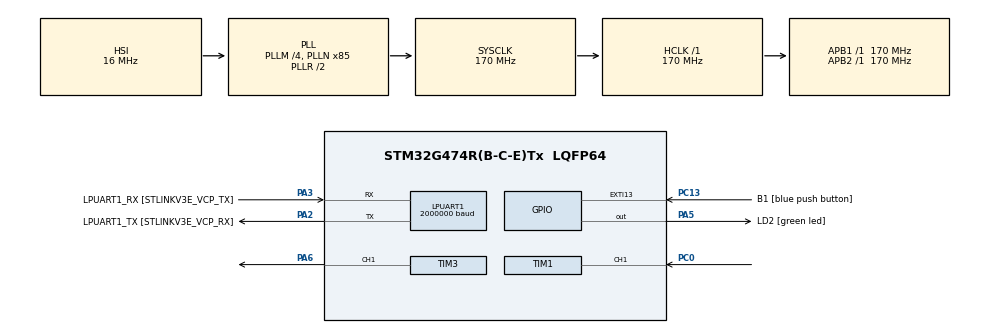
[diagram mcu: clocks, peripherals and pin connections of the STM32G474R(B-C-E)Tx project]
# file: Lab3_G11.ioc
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ARM.CMSIS.5.7.0.CMSISJjCORE=true
ARM.CMSIS.5.7.0.CMSISJjDSP=Library
LPUART1.BaudRate=2000000
Mcu.Family=STM32G4
Mcu.Name=STM32G474R(B-C-E)Tx
Mcu.Package=LQFP64
NVIC.EXTI15_10_IRQn=true\:0\:0\:false\:false\:true\:true\:true\:true
NVIC.LPUART1_IRQn=true\:0\:0\:false\:false\:true\:true\:true\:true
NVIC.PriorityGroup=NVIC_PRIORITYGROUP_4
NVIC.TIM6_DAC_IRQn=true\:0\:0\:false\:false\:true\:true\:true\:true
PA13.GPIO_Label=T_SWDIO
PA13.Signal=SYS_JTMS-SWDIO
PA14.GPIO_Label=T_SWCLK
PA14.Signal=SYS_JTCK-SWCLK
PA2.GPIO_Label=LPUART1_TX [STLINKV3E_VCP_RX]
PA2.Mode=Asynchronous
PA2.Signal=LPUART1_TX
PA3.GPIO_Label=LPUART1_RX [STLINKV3E_VCP_TX]
PA3.Mode=Asynchronous
PA3.Signal=LPUART1_RX
PA5.GPIO_Label=LD2 [green led]
PA5.Signal=GPIO_Output
PA6.Signal=S_TIM3_CH1
PB3.GPIO_Label=T_SWO
PB3.Signal=SYS_JTDO-SWO
PC0.Signal=S_TIM1_CH1
PC13.GPIO_Label=B1 [blue push button]
PC13.Signal=GPXTI13
PC14-OSC32_IN.GPIO_Label=RCC_OSC32_IN
PC14-OSC32_IN.Signal=RCC_OSC32_IN
PC15-OSC32_OUT.GPIO_Label=RCC_OSC32_OUT
PC15-OSC32_OUT.Signal=RCC_OSC32_OUT
PF0-OSC_IN.GPIO_Label=RCC_OSC_IN
PF0-OSC_IN.Signal=RCC_OSC_IN
PF1-OSC_OUT.GPIO_Label=RCC_OSC_OUT
PF1-OSC_OUT.Signal=RCC_OSC_OUT
ProjectManager.HeapSize=0x200
ProjectManager.StackSize=0x400
ProjectManager.TargetToolchain=STM32CubeIDE
RCC.ADC12Freq_Value=170000000
RCC.ADC345Freq_Value=170000000
RCC.AHBFreq_Value=170000000
RCC.APB1Freq_Value=170000000
RCC.APB1TimFreq_Value=170000000
RCC.APB2Freq_Value=170000000
RCC.APB2TimFreq_Value=170000000
RCC.CortexFreq_Value=170000000
RCC.EXTERNAL_CLOCK_VALUE=12288000
RCC.HCLKFreq_Value=170000000
RCC.HSE_VALUE=24000000
RCC.HSI48_VALUE=48000000
RCC.HSI_VALUE=16000000
RCC.LSE_VALUE=32768
RCC.PLLM=RCC_PLLM_DIV4
RCC.PLLN=85
RCC.RTCClockSelection=RCC_RTCCLKSOURCE_LSE
RCC.SYSCLKFreq_VALUE=170000000
RCC.SYSCLKSource=RCC_SYSCLKSOURCE_PLLCLK
RCC.USBFreq_Value=170000000
RCC.VCOOutputFreq_Value=340000000
SH.S_TIM1_CH1.0=TIM1_CH1,PWM_Input_1
SH.S_TIM3_CH1.0=TIM3_CH1,PWM Generation1 CH1
TIM1.Prescaler=169
TIM3.Channel-PWM\ Generation1\ CH1=TIM_CHANNEL_1
TIM3.PeriodNoDither=62499
TIM3.Prescaler=169
TIM6.PeriodNoDither=999
TIM6.Prescaler=169
VP_ARM.CMSIS_VS_CMSISJjCORE_5.4.0_5.7.0.Mode=CMSISJjCORE
VP_ARM.CMSIS_VS_CMSISJjDSP_1.8.0_5.7.0.Mode=CMSISJjDSP
VP_SYS_VS_DBSignals.Mode=DisableDeadBatterySignals
VP_TIM1_VS_ClockSourceINT.Mode=Internal
VP_TIM3_VS_ClockSourceINT.Mode=Internal
VP_TIM6_VS_ClockSourceINT.Mode=Enable_Timer
board=NUCLEO-G474RE

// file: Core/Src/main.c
/* USER CODE BEGIN Header */
/**
  ******************************************************************************
  * @file           : main.c
  * @brief          : Main program body
  ******************************************************************************
  * @attention
  *
  * Copyright (c) 2026 STMicroelectronics.
  * All rights reserved.
  *
  * This software is licensed under terms that can be found in the LICENSE file
  * in the root directory of this software component.
  * If no LICENSE file comes with this software, it is provided AS-IS.
  *
  ******************************************************************************
  */
/* USER CODE END Header */
#include "main.h"

/* USER CODE BEGIN Includes */
#include "ultrasonic.h"
#include "Kalman.h"
#include "Kalman1D.h"
/* USER CODE END Includes */

UART_HandleTypeDef hlpuart1;

TIM_HandleTypeDef htim1;
TIM_HandleTypeDef htim3;
TIM_HandleTypeDef htim6;

/* USER CODE BEGIN PV */
//void Kalman_Init(KalmanFilter_t *kf, float initial_position, float dt, float processDisplacementNoise, float measurementNoise,float velocityState,float processVelocitytNoise);
float dt=0.05;
volatile uint8_t run_sensor_task = 0;
Kalman1D_t StaticKalman_01_167;
Kalman1D_t StaticKalman_01_00167;
Kalman1D_t StaticKalman_01_0000167;
Kalman1D_t StaticKalman_00001_167;
Kalman1D_t StaticKalman_00001_00167;
Kalman1D_t StaticKalman_00001_0000167;
Kalman1D_t StaticKalman_00000001_167;
Kalman1D_t StaticKalman_00000001_00167;
Kalman1D_t StaticKalman_00000001_0000167;

KalmanFilter_t ChangeDistanceKalman_01_167;
KalmanFilter_t ChangeDistanceKalman_01_00167;
KalmanFilter_t ChangeDistanceKalman_01_0000167;
KalmanFilter_t ChangeDistanceKalman_00001_167;
KalmanFilter_t ChangeDistanceKalman_00001_00167;
KalmanFilter_t ChangeDistanceKalman_00001_0000167;
KalmanFilter_t ChangeDistanceKalman_00000001_167;
KalmanFilter_t ChangeDistanceKalman_00000001_00167;
KalmanFilter_t ChangeDistanceKalman_00000001_0000167;

float rawDistance = 0.0f;
float StaticKalmancleanDistance_01_167 = 0.0f;
float StaticKalmancleanDistance_01_00167 = 0.0f;
float StaticKalmancleanDistance_01_0000167 = 0.0f;
float StaticKalmancleanDistance_00001_167 = 0.0f;
float StaticKalmancleanDistance_00001_00167 = 0.0f;
float StaticKalmancleanDistance_00001_0000167 = 0.0f;
float StaticKalmancleanDistance_00000001_167 = 0.0f;
float StaticKalmancleanDistance_00000001_00167 = 0.0f;
float StaticKalmancleanDistance_00000001_0000167 = 0.0f;

float ChangeDistanceKalmancleanDistance_01_167 = 0.0f;
float ChangeDistanceKalmancleanDistance_01_00167 = 0.0f;
float ChangeDistanceKalmancleanDistance_01_0000167 = 0.0f;
float ChangeDistanceKalmancleanDistance_00001_167 = 0.0f;
float ChangeDistanceKalmancleanDistance_00001_00167 = 0.0f;
float ChangeDistanceKalmancleanDistance_00001_0000167 = 0.0f;
float ChangeDistanceKalmancleanDistance_00000001_167 = 0.0f;
float ChangeDistanceKalmancleanDistance_00000001_00167 = 0.0f;
float ChangeDistanceKalmancleanDistance_00000001_0000167 = 0.0f;
/* USER CODE END PV */

void SystemClock_Config(void);
static void MX_GPIO_Init(void);
static void MX_TIM1_Init(void);
static void MX_TIM3_Init(void);
static void MX_LPUART1_UART_Init(void);
static void MX_TIM6_Init(void);
/* USER CODE BEGIN PFP */

void DummyTask();
void TransmitDistancePacket(float rawDistance,float StaticKalmancleanDistance_01_167,float StaticKalmancleanDistance_01_00167,float StaticKalmancleanDistance_01_0000167,float StaticKalmancleanDistance_00001_167,
		float StaticKalmancleanDistance_00001_00167,float StaticKalmancleanDistance_00001_0000167,float StaticKalmancleanDistance_00000001_167,float StaticKalmancleanDistance_00000001_00167,
		float StaticKalmancleanDistance_00000001_0000167,
		float ChangeDistanceKalmancleanDistance_01_167,
		float ChangeDistanceKalmancleanDistance_01_00167,
		float ChangeDistanceKalmancleanDistance_01_0000167 ,
		float ChangeDistanceKalmancleanDistance_00001_167  ,
		float ChangeDistanceKalmancleanDistance_00001_00167  ,
		float ChangeDistanceKalmancleanDistance_00001_0000167  ,
		float ChangeDistanceKalmancleanDistance_00000001_167 ,
		float ChangeDistanceKalmancleanDistance_00000001_00167  ,
		float ChangeDistanceKalmancleanDistance_00000001_0000167 );
/* USER CODE END PFP */

int main(void)
{

  /* MCU Configuration--------------------------------------------------------*/

  /* Reset of all peripherals, Initializes the Flash interface and the Systick. */
  HAL_Init();

  /* Configure the system clock */
  SystemClock_Config();

  /* Initialize all configured peripherals */
  MX_GPIO_Init();
  MX_TIM1_Init();
  MX_TIM3_Init();
  MX_LPUART1_UART_Init();
  MX_TIM6_Init();
  /* USER CODE BEGIN 2 */
  /*initialize Discrete Kalman matrix*/
  //void Kalman_Init(KalmanFilter_t *kf, float initial_position, float dt, float processDisplacementNoise, float measurementNoise,float velocityState,float processVelocitytNoise);
//  void Kalman1D_Init(Kalman1D_t *kf, float initial_position, float process_noise, float sensor_noise) {
  Kalman1D_Init(&StaticKalman_01_167, 0.0f,0.01f,4.33f);
  Kalman1D_Init(&StaticKalman_01_00167, 0.0f, 0.01f,0.0433f);
  Kalman1D_Init(&StaticKalman_01_0000167, 0.0f, 0.01f,0.000433f);

  Kalman1D_Init(&StaticKalman_00001_167, 0.0f, 0.00001f,4.33f);
  Kalman1D_Init(&StaticKalman_00001_00167, 0.0f, 0.00001f,0.0433f);
  Kalman1D_Init(&StaticKalman_00001_0000167, 0.0f, 0.00001f,0.000433f);

  Kalman1D_Init(&StaticKalman_00000001_167, 0.0f, 0.00000001f,4.33f);
  Kalman1D_Init(&StaticKalman_00000001_00167, 0.0f, 0.00000001f,0.0433f);
  Kalman1D_Init(&StaticKalman_00000001_0000167, 0.0f, 0.00000001f,0.000433f);

  Kalman_Init(&ChangeDistanceKalman_01_167, 0.0f, dt,0.0f,4.33f,1.0f,0.01f);
   Kalman_Init(&ChangeDistanceKalman_01_00167, 0.0f, dt,0.0f,0.0433f,1.0f,0.01f);
   Kalman_Init(&ChangeDistanceKalman_01_0000167, 0.0f, dt,0.0f,0.000433f,1.0f,0.01f);

   Kalman_Init(&ChangeDistanceKalman_00001_167, 0.0f, dt,0.0f,4.33f,1.0f,0.00001f);
   Kalman_Init(&ChangeDistanceKalman_00001_00167, 0.0f, dt,0.0f,0.0433f,1.0f,0.00001f);
   Kalman_Init(&ChangeDistanceKalman_00001_0000167, 0.0f, dt,0.0f,0.000433f,1.0f,0.00001f);

   Kalman_Init(&ChangeDistanceKalman_00000001_167, 0.0f, dt,0.0f,4.33f,1.0f,0.00000001f);
   Kalman_Init(&ChangeDistanceKalman_00000001_00167, 0.0f, dt,0.0f,0.0433f,1.0f,0.00000001f);
   Kalman_Init(&ChangeDistanceKalman_00000001_0000167, 0.0f, dt,0.0f,0.000433f,1.0f,0.00000001f);

  //  HAL_UART_Transmit(&hlpuart1, text, 11, 10);
    HAL_TIM_Base_Start(&htim3);
    /* 2. Enable the PWM signal output on Timer 3, Channel 1 */
    HAL_TIM_PWM_Start(&htim3, TIM_CHANNEL_1);

    HAL_TIM_Base_Start(&htim1);
    HAL_TIM_IC_Start(&htim1, TIM_CHANNEL_1);
    HAL_TIM_IC_Start(&htim1, TIM_CHANNEL_2);

//    observation timer
    HAL_TIM_Base_Start_IT(&htim6);
  /* USER CODE END 2 */

  /* Infinite loop */
  while (1)
  {

    /* USER CODE BEGIN 3 */
	  DummyTask(); // LED heartbeat

	  if (run_sensor_task == 1)
	      {
	          // 1. Immediately lower the flag so we don't double-trigger
	          run_sensor_task = 0;

	          // 2. Read the raw sensor data
	          rawDistance = ultrasonicRawRead();

	          // 3. Filter the data! (measurement = raw, u = 0, dt = 0.05)
//	          float Kalman1D_Update(Kalman1D_t *kf, float measurement) {
	          StaticKalmancleanDistance_01_167 = Kalman1D_Update(&StaticKalman_01_167, rawDistance);
	          StaticKalmancleanDistance_01_00167 = Kalman1D_Update(&StaticKalman_01_00167, rawDistance);
	          StaticKalmancleanDistance_01_0000167 = Kalman1D_Update(&StaticKalman_01_0000167, rawDistance);

	          StaticKalmancleanDistance_00001_167 = Kalman1D_Update(&StaticKalman_00001_167, rawDistance);
	          StaticKalmancleanDistance_00001_00167 = Kalman1D_Update(&StaticKalman_00001_00167, rawDistance);
	          StaticKalmancleanDistance_00001_0000167 = Kalman1D_Update(&StaticKalman_00001_0000167, rawDistance);

	          StaticKalmancleanDistance_00000001_167 = Kalman1D_Update(&StaticKalman_00000001_167, rawDistance);
	          StaticKalmancleanDistance_00000001_00167 = Kalman1D_Update(&StaticKalman_00000001_00167, rawDistance);
	          StaticKalmancleanDistance_00000001_0000167 = Kalman1D_Update(&StaticKalman_00000001_0000167, rawDistance);

	          ChangeDistanceKalmancleanDistance_01_167 = Kalman_Update(&ChangeDistanceKalman_01_167, rawDistance, 0.0f, 0.0f);
	          ChangeDistanceKalmancleanDistance_01_00167 = Kalman_Update(&ChangeDistanceKalman_01_00167, rawDistance, 0.0f, 0.0f);
	          ChangeDistanceKalmancleanDistance_01_0000167 = Kalman_Update(&ChangeDistanceKalman_01_0000167, rawDistance, 0.0f, 0.0f);

	          ChangeDistanceKalmancleanDistance_00001_167 = Kalman_Update(&ChangeDistanceKalman_00001_167, rawDistance, 0.0f, 0.0f);
	          ChangeDistanceKalmancleanDistance_00001_00167 = Kalman_Update(&ChangeDistanceKalman_00001_00167, rawDistance, 0.0f, 0.0f);
	          ChangeDistanceKalmancleanDistance_00001_0000167 = Kalman_Update(&ChangeDistanceKalman_00001_0000167, rawDistance, 0.0f, 0.0f);

	          ChangeDistanceKalmancleanDistance_00000001_167 = Kalman_Update(&ChangeDistanceKalman_00000001_167, rawDistance, 0.0f, 0.0f);
	          ChangeDistanceKalmancleanDistance_00000001_00167 = Kalman_Update(&ChangeDistanceKalman_00000001_00167, rawDistance, 0.0f, 0.0f);
	          ChangeDistanceKalmancleanDistance_00000001_0000167 = Kalman_Update(&ChangeDistanceKalman_00000001_0000167, rawDistance, 0.0f, 0.0f);

	          // OPTIONAL: You can also look at the velocity!
	          // float currentVelocity = mySensorFilter.x_data[1];

	          // 4. Transmit the clean distance to Simulink using the custom UART function
	          TransmitDistancePacket(rawDistance,StaticKalmancleanDistance_01_167,StaticKalmancleanDistance_01_00167,StaticKalmancleanDistance_01_0000167,StaticKalmancleanDistance_00001_167,
					StaticKalmancleanDistance_00001_00167,
					StaticKalmancleanDistance_00001_0000167,
					StaticKalmancleanDistance_00000001_167,
					StaticKalmancleanDistance_00000001_00167,
					StaticKalmancleanDistance_00000001_0000167,
					ChangeDistanceKalmancleanDistance_01_167,
					ChangeDistanceKalmancleanDistance_01_00167,
					ChangeDistanceKalmancleanDistance_01_0000167,
					ChangeDistanceKalmancleanDistance_00001_167,
					ChangeDistanceKalmancleanDistance_00001_00167,
					ChangeDistanceKalmancleanDistance_00001_0000167,
					ChangeDistanceKalmancleanDistance_00000001_167,
					ChangeDistanceKalmancleanDistance_00000001_00167,
					ChangeDistanceKalmancleanDistance_00000001_0000167);
	      }
  }
  /* USER CODE END 3 */
}

void SystemClock_Config(void)
{
  RCC_OscInitTypeDef RCC_OscInitStruct = {0};
  RCC_ClkInitTypeDef RCC_ClkInitStruct = {0};

  /** Configure the main internal regulator output voltage
  */
  HAL_PWREx_ControlVoltageScaling(PWR_REGULATOR_VOLTAGE_SCALE1_BOOST);

  /** Initializes the RCC Oscillators according to the specified parameters
  * in the RCC_OscInitTypeDef structure.
  */
  RCC_OscInitStruct.OscillatorType = RCC_OSCILLATORTYPE_HSI;
  RCC_OscInitStruct.HSIState = RCC_HSI_ON;
  RCC_OscInitStruct.HSICalibrationValue = RCC_HSICALIBRATION_DEFAULT;
  RCC_OscInitStruct.PLL.PLLState = RCC_PLL_ON;
  RCC_OscInitStruct.PLL.PLLSource = RCC_PLLSOURCE_HSI;
  RCC_OscInitStruct.PLL.PLLM = RCC_PLLM_DIV4;
  RCC_OscInitStruct.PLL.PLLN = 85;
  RCC_OscInitStruct.PLL.PLLP = RCC_PLLP_DIV2;
  RCC_OscInitStruct.PLL.PLLQ = RCC_PLLQ_DIV2;
  RCC_OscInitStruct.PLL.PLLR = RCC_PLLR_DIV2;
  if (HAL_RCC_OscConfig(&RCC_OscInitStruct) != HAL_OK)
  {
    Error_Handler();
  }

  /** Initializes the CPU, AHB and APB buses clocks
  */
  RCC_ClkInitStruct.ClockType = RCC_CLOCKTYPE_HCLK|RCC_CLOCKTYPE_SYSCLK
                              |RCC_CLOCKTYPE_PCLK1|RCC_CLOCKTYPE_PCLK2;
  RCC_ClkInitStruct.SYSCLKSource = RCC_SYSCLKSOURCE_PLLCLK;
  RCC_ClkInitStruct.AHBCLKDivider = RCC_SYSCLK_DIV1;
  RCC_ClkInitStruct.APB1CLKDivider = RCC_HCLK_DIV1;
  RCC_ClkInitStruct.APB2CLKDivider = RCC_HCLK_DIV1;

  if (HAL_RCC_ClockConfig(&RCC_ClkInitStruct, FLASH_LATENCY_4) != HAL_OK)
  {
    Error_Handler();
  }
}

static void MX_LPUART1_UART_Init(void)
{

  hlpuart1.Instance = LPUART1;
  hlpuart1.Init.BaudRate = 2000000;
  hlpuart1.Init.WordLength = UART_WORDLENGTH_8B;
  hlpuart1.Init.StopBits = UART_STOPBITS_1;
  hlpuart1.Init.Parity = UART_PARITY_NONE;
  hlpuart1.Init.Mode = UART_MODE_TX_RX;
  hlpuart1.Init.HwFlowCtl = UART_HWCONTROL_NONE;
  hlpuart1.Init.OneBitSampling = UART_ONE_BIT_SAMPLE_DISABLE;
  hlpuart1.Init.ClockPrescaler = UART_PRESCALER_DIV1;
  hlpuart1.AdvancedInit.AdvFeatureInit = UART_ADVFEATURE_NO_INIT;
  if (HAL_UART_Init(&hlpuart1) != HAL_OK)
  {
    Error_Handler();
  }
  if (HAL_UARTEx_SetTxFifoThreshold(&hlpuart1, UART_TXFIFO_THRESHOLD_1_8) != HAL_OK)
  {
    Error_Handler();
  }
  if (HAL_UARTEx_SetRxFifoThreshold(&hlpuart1, UART_RXFIFO_THRESHOLD_1_8) != HAL_OK)
  {
    Error_Handler();
  }
  if (HAL_UARTEx_DisableFifoMode(&hlpuart1) != HAL_OK)
  {
    Error_Handler();
  }

}

static void MX_TIM1_Init(void)
{

  TIM_ClockConfigTypeDef sClockSourceConfig = {0};
  TIM_SlaveConfigTypeDef sSlaveConfig = {0};
  TIM_IC_InitTypeDef sConfigIC = {0};
  TIM_MasterConfigTypeDef sMasterConfig = {0};

  htim1.Instance = TIM1;
  htim1.Init.Prescaler = 169;
  htim1.Init.CounterMode = TIM_COUNTERMODE_UP;
  htim1.Init.Period = 65535;
  htim1.Init.ClockDivision = TIM_CLOCKDIVISION_DIV1;
  htim1.Init.RepetitionCounter = 0;
  htim1.Init.AutoReloadPreload = TIM_AUTORELOAD_PRELOAD_DISABLE;
  if (HAL_TIM_Base_Init(&htim1) != HAL_OK)
  {
    Error_Handler();
  }
  sClockSourceConfig.ClockSource = TIM_CLOCKSOURCE_INTERNAL;
  if (HAL_TIM_ConfigClockSource(&htim1, &sClockSourceConfig) != HAL_OK)
  {
    Error_Handler();
  }
  if (HAL_TIM_IC_Init(&htim1) != HAL_OK)
  {
    Error_Handler();
  }
  sSlaveConfig.SlaveMode = TIM_SLAVEMODE_RESET;
  sSlaveConfig.InputTrigger = TIM_TS_TI1FP1;
  sSlaveConfig.TriggerPolarity = TIM_INPUTCHANNELPOLARITY_RISING;
  sSlaveConfig.TriggerPrescaler = TIM_ICPSC_DIV1;
  sSlaveConfig.TriggerFilter = 0;
  if (HAL_TIM_SlaveConfigSynchro(&htim1, &sSlaveConfig) != HAL_OK)
  {
    Error_Handler();
  }
  sConfigIC.ICPolarity = TIM_INPUTCHANNELPOLARITY_RISING;
  sConfigIC.ICSelection = TIM_ICSELECTION_DIRECTTI;
  sConfigIC.ICPrescaler = TIM_ICPSC_DIV1;
  sConfigIC.ICFilter = 0;
  if (HAL_TIM_IC_ConfigChannel(&htim1, &sConfigIC, TIM_CHANNEL_1) != HAL_OK)
  {
    Error_Handler();
  }
  sConfigIC.ICPolarity = TIM_INPUTCHANNELPOLARITY_FALLING;
  sConfigIC.ICSelection = TIM_ICSELECTION_INDIRECTTI;
  if (HAL_TIM_IC_ConfigChannel(&htim1, &sConfigIC, TIM_CHANNEL_2) != HAL_OK)
  {
    Error_Handler();
  }
  sMasterConfig.MasterOutputTrigger = TIM_TRGO_RESET;
  sMasterConfig.MasterOutputTrigger2 = TIM_TRGO2_RESET;
  sMasterConfig.MasterSlaveMode = TIM_MASTERSLAVEMODE_DISABLE;
  if (HAL_TIMEx_MasterConfigSynchronization(&htim1, &sMasterConfig) != HAL_OK)
  {
    Error_Handler();
  }

}

static void MX_TIM3_Init(void)
{

  TIM_ClockConfigTypeDef sClockSourceConfig = {0};
  TIM_MasterConfigTypeDef sMasterConfig = {0};
  TIM_OC_InitTypeDef sConfigOC = {0};

  htim3.Instance = TIM3;
  htim3.Init.Prescaler = 169;
  htim3.Init.CounterMode = TIM_COUNTERMODE_UP;
  htim3.Init.Period = 62499;
  htim3.Init.ClockDivision = TIM_CLOCKDIVISION_DIV1;
  htim3.Init.AutoReloadPreload = TIM_AUTORELOAD_PRELOAD_DISABLE;
  if (HAL_TIM_Base_Init(&htim3) != HAL_OK)
  {
    Error_Handler();
  }
  sClockSourceConfig.ClockSource = TIM_CLOCKSOURCE_INTERNAL;
  if (HAL_TIM_ConfigClockSource(&htim3, &sClockSourceConfig) != HAL_OK)
  {
    Error_Handler();
  }
  if (HAL_TIM_PWM_Init(&htim3) != HAL_OK)
  {
    Error_Handler();
  }
  sMasterConfig.MasterOutputTrigger = TIM_TRGO_RESET;
  sMasterConfig.MasterSlaveMode = TIM_MASTERSLAVEMODE_DISABLE;
  if (HAL_TIMEx_MasterConfigSynchronization(&htim3, &sMasterConfig) != HAL_OK)
  {
    Error_Handler();
  }
  sConfigOC.OCMode = TIM_OCMODE_PWM1;
  sConfigOC.Pulse = 0;
  sConfigOC.OCPolarity = TIM_OCPOLARITY_HIGH;
  sConfigOC.OCFastMode = TIM_OCFAST_DISABLE;
  if (HAL_TIM_PWM_ConfigChannel(&htim3, &sConfigOC, TIM_CHANNEL_1) != HAL_OK)
  {
    Error_Handler();
  }
  HAL_TIM_MspPostInit(&htim3);

}

static void MX_TIM6_Init(void)
{

  TIM_MasterConfigTypeDef sMasterConfig = {0};

  htim6.Instance = TIM6;
  htim6.Init.Prescaler = 169;
  htim6.Init.CounterMode = TIM_COUNTERMODE_UP;
  htim6.Init.Period = 999;
  htim6.Init.AutoReloadPreload = TIM_AUTORELOAD_PRELOAD_DISABLE;
  if (HAL_TIM_Base_Init(&htim6) != HAL_OK)
  {
    Error_Handler();
  }
  sMasterConfig.MasterOutputTrigger = TIM_TRGO_RESET;
  sMasterConfig.MasterSlaveMode = TIM_MASTERSLAVEMODE_DISABLE;
  if (HAL_TIMEx_MasterConfigSynchronization(&htim6, &sMasterConfig) != HAL_OK)
  {
    Error_Handler();
  }

}

static void MX_GPIO_Init(void)
{
  GPIO_InitTypeDef GPIO_InitStruct = {0};

  /* GPIO Ports Clock Enable */
  __HAL_RCC_GPIOC_CLK_ENABLE();
  __HAL_RCC_GPIOF_CLK_ENABLE();
  __HAL_RCC_GPIOA_CLK_ENABLE();
  __HAL_RCC_GPIOB_CLK_ENABLE();

  /*Configure GPIO pin Output Level */
  HAL_GPIO_WritePin(LD2_GPIO_Port, LD2_Pin, GPIO_PIN_RESET);

  /*Configure GPIO pin : B1_Pin */
  GPIO_InitStruct.Pin = B1_Pin;
  GPIO_InitStruct.Mode = GPIO_MODE_IT_RISING;
  GPIO_InitStruct.Pull = GPIO_NOPULL;
  HAL_GPIO_Init(B1_GPIO_Port, &GPIO_InitStruct);

  /*Configure GPIO pin : LD2_Pin */
  GPIO_InitStruct.Pin = LD2_Pin;
  GPIO_InitStruct.Mode = GPIO_MODE_OUTPUT_PP;
  GPIO_InitStruct.Pull = GPIO_NOPULL;
  GPIO_InitStruct.Speed = GPIO_SPEED_FREQ_LOW;
  HAL_GPIO_Init(LD2_GPIO_Port, &GPIO_InitStruct);

  /* EXTI interrupt init*/
  HAL_NVIC_SetPriority(EXTI15_10_IRQn, 0, 0);
  HAL_NVIC_EnableIRQ(EXTI15_10_IRQn);

}

/* USER CODE BEGIN 4 */

void DummyTask(){
	static uint32_t timestamp=0;
	if(HAL_GetTick()>=timestamp){
		timestamp=HAL_GetTick()+100;
		HAL_GPIO_TogglePin(LD2_GPIO_Port,LD2_Pin);
	}
}

void TransmitDistancePacket(float Raw_distance,float filtered_distance1,float filtered_distance2,
		float filtered_distance3,float filtered_distance4,float filtered_distance5,float filtered_distance6,
		float filtered_distance7,float filtered_distance8,float filtered_distance9,
		float filtered_distance10,float filtered_distance11,float filtered_distance12,
		float filtered_distance13,float filtered_distance14,float filtered_distance15,
		float filtered_distance16,float filtered_distance17,float filtered_distance18)

{
    // Define the union to safely slice the float
    typedef union {
        float value;
        uint8_t bytes[4];
    } FloatUnion;

    FloatUnion dataToSend;
    FloatUnion filterData1ToSend;
    FloatUnion filterData2ToSend;
    FloatUnion filterData3ToSend;
    FloatUnion filterData4ToSend;
    FloatUnion filterData5ToSend;
	FloatUnion filterData6ToSend;
	FloatUnion filterData7ToSend;
	FloatUnion filterData8ToSend;
	FloatUnion filterData9ToSend;
	FloatUnion filterData10ToSend;
	FloatUnion filterData11ToSend;
	FloatUnion filterData12ToSend;
	FloatUnion filterData13ToSend;
	FloatUnion filterData14ToSend;
	FloatUnion filterData15ToSend;
	FloatUnion filterData16ToSend;
	FloatUnion filterData17ToSend;
	FloatUnion filterData18ToSend;

    dataToSend.value = Raw_distance;
	filterData1ToSend.value = filtered_distance1;
	filterData2ToSend.value = filtered_distance2;
	filterData3ToSend.value = filtered_distance3;
	filterData4ToSend.value = filtered_distance4;
	filterData5ToSend.value = filtered_distance5;
	filterData6ToSend.value = filtered_distance6;
	filterData7ToSend.value = filtered_distance7;
	filterData8ToSend.value = filtered_distance8;
	filterData9ToSend.value = filtered_distance9;
	filterData10ToSend.value = filtered_distance10;
	filterData11ToSend.value = filtered_distance11;
	filterData12ToSend.value = filtered_distance12;
	filterData13ToSend.value = filtered_distance13;
	filterData14ToSend.value = filtered_distance14;
	filterData15ToSend.value = filtered_distance15;
	filterData16ToSend.value = filtered_distance16;
	filterData17ToSend.value = filtered_distance17;
	filterData18ToSend.value = filtered_distance18;

    // Create the 8-byte buffer
    uint8_t packet[80];

    // Assemble the packet with Headers and Terminators
	packet[0] = 0x7E;
	packet[1] = 0x7E;
	packet[2] = dataToSend.bytes[0];
	packet[3] = dataToSend.bytes[1];
	packet[4] = dataToSend.bytes[2];
	packet[5] = dataToSend.bytes[3];
	packet[6] = filterData1ToSend.bytes[0];
	packet[7] = filterData1ToSend.bytes[1];
	packet[8] = filterData1ToSend.bytes[2];
	packet[9] = filterData1ToSend.bytes[3];
	packet[10] = filterData2ToSend.bytes[0];
	packet[11] = filterData2ToSend.bytes[1];
	packet[12] = filterData2ToSend.bytes[2];
	packet[13] = filterData2ToSend.bytes[3];
	packet[14] = filterData3ToSend.bytes[0];
	packet[15] = filterData3ToSend.bytes[1];
	packet[16] = filterData3ToSend.bytes[2];
	packet[17] = filterData3ToSend.bytes[3];
	packet[18] = filterData4ToSend.bytes[0];
	packet[19] = filterData4ToSend.bytes[1];
	packet[20] = filterData4ToSend.bytes[2];
	packet[21] = filterData4ToSend.bytes[3];
	packet[22] = filterData5ToSend.bytes[0];
	packet[23] = filterData5ToSend.bytes[1];
	packet[24] = filterData5ToSend.bytes[2];
	packet[25] = filterData5ToSend.bytes[3];
	packet[26] = filterData6ToSend.bytes[0];
	packet[27] = filterData6ToSend.bytes[1];
	packet[28] = filterData6ToSend.bytes[2];
	packet[29] = filterData6ToSend.bytes[3];
	packet[30] = filterData7ToSend.bytes[0];
	packet[31] = filterData7ToSend.bytes[1];
	packet[32] = filterData7ToSend.bytes[2];
	packet[33] = filterData7ToSend.bytes[3];
	packet[34] = filterData8ToSend.bytes[0];
	packet[35] = filterData8ToSend.bytes[1];
	packet[36] = filterData8ToSend.bytes[2];
	packet[37] = filterData8ToSend.bytes[3];
	packet[38] = filterData9ToSend.bytes[0];
	packet[39] = filterData9ToSend.bytes[1];
	packet[40] = filterData9ToSend.bytes[2];
	packet[41] = filterData9ToSend.bytes[3];

	packet[42] = filterData10ToSend.bytes[0];
	packet[43] = filterData10ToSend.bytes[1];
	packet[44] = filterData10ToSend.bytes[2];
	packet[45] = filterData10ToSend.bytes[3];
	packet[46] = filterData11ToSend.bytes[0];
	packet[47] = filterData11ToSend.bytes[1];
	packet[48] = filterData11ToSend.bytes[2];
	packet[49] = filterData11ToSend.bytes[3];
	packet[50] = filterData12ToSend.bytes[0];
	packet[51] = filterData12ToSend.bytes[1];
	packet[52] = filterData12ToSend.bytes[2];
	packet[53] = filterData12ToSend.bytes[3];
	packet[54] = filterData13ToSend.bytes[0];
	packet[55] = filterData13ToSend.bytes[1];
	packet[56] = filterData13ToSend.bytes[2];
	packet[57] = filterData13ToSend.bytes[3];
	packet[58] = filterData14ToSend.bytes[0];
	packet[59] = filterData14ToSend.bytes[1];
	packet[60] = filterData14ToSend.bytes[2];
	packet[61] = filterData14ToSend.bytes[3];
	packet[62] = filterData15ToSend.bytes[0];
	packet[63] = filterData15ToSend.bytes[1];
	packet[64] = filterData15ToSend.bytes[2];
	packet[65] = filterData15ToSend.bytes[3];
	packet[66] = filterData16ToSend.bytes[0];
	packet[67] = filterData16ToSend.bytes[1];
	packet[68] = filterData16ToSend.bytes[2];
	packet[69] = filterData16ToSend.bytes[3];
	packet[70] = filterData17ToSend.bytes[0];
	packet[71] = filterData17ToSend.bytes[1];
	packet[72] = filterData17ToSend.bytes[2];
	packet[73] = filterData17ToSend.bytes[3];
	packet[74] = filterData18ToSend.bytes[0];
	packet[75] = filterData18ToSend.bytes[1];
	packet[76] = filterData18ToSend.bytes[2];
	packet[77] = filterData18ToSend.bytes[3];

	packet[78] = 0x03;
	packet[79] = 0x03;

    // Transmit via LPUART1
    HAL_UART_Transmit(&hlpuart1, packet, 80, 10);
}

void HAL_TIM_PeriodElapsedCallback(TIM_HandleTypeDef *htim)
{
    // Check if it was TIM6 that triggered this interrupt
    if (htim->Instance == TIM6)
    {
        // Tell the main loop it is time to do the heavy math
        run_sensor_task = 1;
    }
}

/* USER CODE END 4 */

void Error_Handler(void)
{
  __disable_irq();
  while (1)
  {
  }
}
